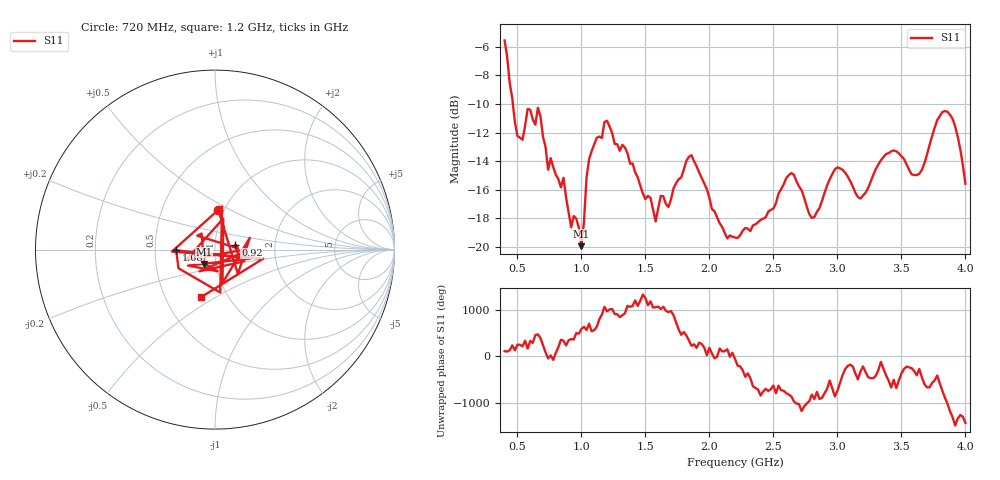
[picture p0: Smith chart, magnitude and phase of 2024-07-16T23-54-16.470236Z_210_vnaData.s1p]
!Created with skrf (http://scikit-rf.org).
# Hz S RI R 50.0
!freq ReS11 ImS11
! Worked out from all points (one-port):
!   181 points, 400 MHz to 4 GHz, reference 50 ohm
!   lowest |S11| = -20.0 dB at 1 GHz (marker M1), VSWR 1.22, Z = 43.7 - j7.02 ohm
!   |S11| at or under -10 dB: 464.8 MHz to end of sweep
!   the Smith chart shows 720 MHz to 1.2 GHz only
!   S11 on the Smith chart (normalised r, x): 720 MHz: 0.94, +0.44; 920 MHz: 1.26, +0.07; 1.08 GHz: 0.64, -0.01; 1.2 GHz: 0.75, -0.43
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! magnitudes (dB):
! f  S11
! 400 MHz  -5.5
! 500 MHz  -12.2
! 660 MHz  -10.3
! 720 MHz  -13.0
! 740 MHz  -14.6
! 860 MHz  -15.2
! 920 MHz  -18.6
! 960 MHz  -18.0
! 1 GHz  -20.0
! 1.04 GHz  -15.2
! 1.08 GHz  -13.3
! 1.2 GHz  -11.2
! 1.3 GHz  -13.3
! 1.58 GHz  -18.2
! 1.76 GHz  -15.3
! 1.86 GHz  -13.6
! 2.2 GHz  -19.3
! 2.66 GHz  -15.0
! 2.8 GHz  -18.0
! 2.98 GHz  -14.6
! 3.1 GHz  -15.4
! 3.18 GHz  -16.6
! 3.44 GHz  -13.3
! 3.56 GHz  -14.6
! 3.64 GHz  -14.9
! 3.86 GHz  -10.5
! 3.94 GHz  -12.3
! 4 GHz  -15.6
